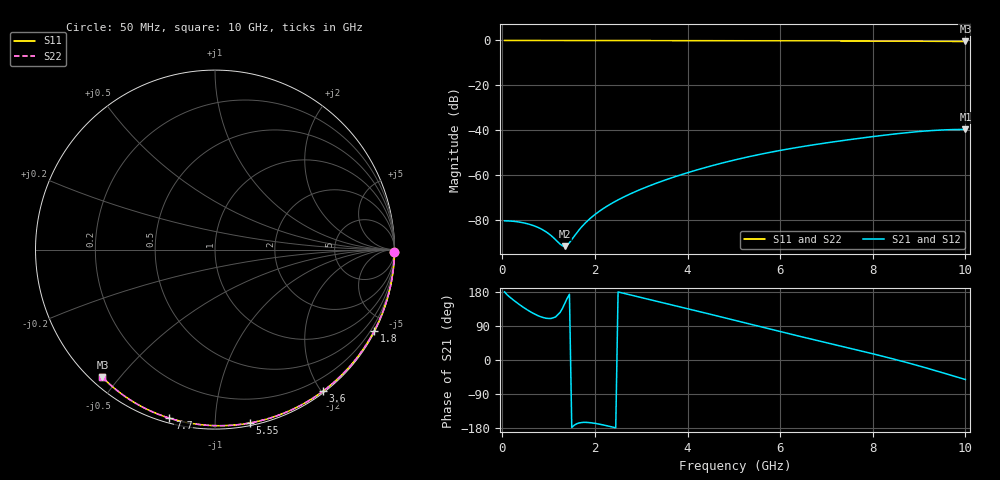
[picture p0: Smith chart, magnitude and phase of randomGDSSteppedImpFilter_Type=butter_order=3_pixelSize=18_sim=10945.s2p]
! freq	dB(S11)	phase(S11)	dB(S12)	phase(S12)
!  dB(S21)	phase(S21)	dB(S22)	phase(S22)
!S-par simulation data
#  GHz  S  DB  R 50
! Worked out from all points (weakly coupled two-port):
!   200 points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, 50 MHz to 10 GHz, reference 50 ohm
!   highest |S21| = -39.65 dB at 10 GHz (marker M1); lowest = -91.7 dB at 1.35 GHz (marker M2)
!   lowest |S11| = -0.5 dB at 10 GHz (marker M3), VSWR 37.56, Z = 1.6 - j22.6 ohm
!   |S11| at or under -10 dB: nowhere
!   |S22| runs from -0.5 to 0.0 dB; largest |S21 - S12| = 0
!   S11 on the Smith chart (normalised r, x): 50 MHz: open; 1.8 GHz: 0.04, -4.17; 3.6 GHz: 0.02, -2.02; 5.55 GHz: 0.02, -1.22; 7.7 GHz: 0.02, -0.77; 10 GHz: 0.03, -0.45
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0.05  -0.00 -0.8  -80.38 179.8  -80.38 179.8  -0.00 -0.8
0.7  -0.01 -10.6  -82.71 121.1  -82.71 121.1  -0.01 -10.6
1.35  -0.02 -20.3  -91.68 149.5  -91.68 149.5  -0.02 -20.3
1.75  -0.03 -26.2  -82.26 -164.6  -82.26 -164.6  -0.03 -26.2
1.8  -0.03 -27.0  -81.19 -164.5  -81.19 -164.5  -0.03 -27.0
1.85  -0.04 -27.7  -80.21 -164.8  -80.21 -164.8  -0.04 -27.7
2.15  -0.04 -32.1  -75.33 -170.6  -75.33 -170.6  -0.04 -32.1
2.35  -0.05 -35.0  -72.75 -176.1  -72.75 -176.1  -0.05 -35.0
2.55  -0.05 -37.9  -70.51 178.1  -70.51 178.1  -0.05 -37.9
2.95  -0.06 -43.6  -66.69 166.3  -66.69 166.3  -0.06 -43.6
3.4  -0.07 -49.9  -63.06 153.0  -63.06 153.0  -0.07 -49.9
3.6  -0.07 -52.7  -61.61 147.1  -61.61 147.1  -0.07 -52.7
4.3  -0.09 -62.3  -57.11 126.5  -57.11 126.5  -0.09 -62.3
5.05  -0.11 -72.2  -53.09 103.9  -53.09 103.9  -0.11 -72.2
5.55  -0.13 -78.7  -50.82 88.7  -50.82 88.7  -0.13 -78.7
6.1  -0.15 -85.7  -48.64 72.1  -48.64 72.1  -0.15 -85.7
6.7  -0.18 -93.1  -46.57 54.3  -46.57 54.3  -0.18 -93.1
7.7  -0.24 -105.1  -43.64 25.3  -43.64 25.3  -0.24 -105.1
8.35  -0.29 -112.7  -41.97 5.7  -41.97 5.7  -0.29 -112.7
9.25  -0.37 -123.0  -40.18 -24.4  -40.18 -24.4  -0.37 -123.0
9.6  -0.41 -126.9  -39.80 -37.0  -39.80 -37.0  -0.41 -126.9
10  -0.46 -131.4  -39.65 -51.5  -39.65 -51.5  -0.46 -131.4
